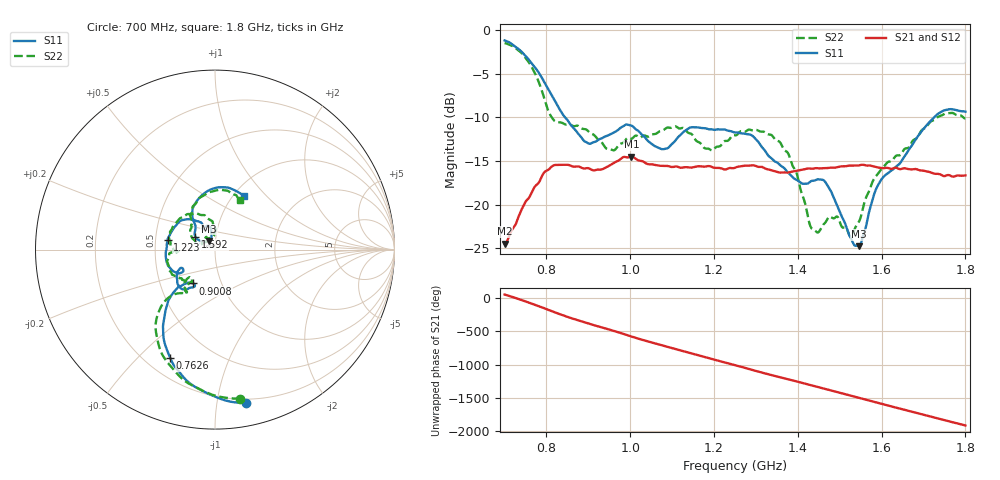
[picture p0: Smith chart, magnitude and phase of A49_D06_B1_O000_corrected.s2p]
! Created with skrf 1.9.0 (http://scikit-rf.org).
# Hz S RI R 50.0
!freq ReS11 ImS11 ReS21 ImS21 ReS12 ImS12 ReS22 ImS22
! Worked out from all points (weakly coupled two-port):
!   1601 points, 700 MHz to 1.8 GHz, reference 50 ohm
!   highest |S21| = -14.49 dB at 1.002 GHz (marker M1); lowest = -24.4 dB at 700 MHz (marker M2)
!   lowest |S11| = -24.7 dB at 1.546 GHz (marker M3), VSWR 1.12, Z = 46.6 + j4.44 ohm
!   |S11| at or under -10 dB: 844.5 MHz to 1.725 GHz (880.7 MHz wide, 68.5 % of centre)
!   |S22| runs from -23.7 to -1.5 dB; largest |S21 - S12| = 0.0035
!   S11 on the Smith chart (normalised r, x): 700 MHz: 0.17, -1.21; 762.6 MHz: 0.30, -0.63; 900.8 MHz: 0.73, -0.29; 1.223 GHz: 0.58, +0.07; 1.592 GHz: 0.80, +0.11; 1.8 GHz: 1.12, +0.76
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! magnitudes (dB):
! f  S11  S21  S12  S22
! 700 MHz  -1.2  -24.4  -24.2  -1.5
! 762.6 MHz  -3.7  -18.8  -18.8  -4.0
! 815.5 MHz  -7.7  -15.5  -15.6  -10.2
! 883.6 MHz  -12.3  -15.8  -15.7  -11.3
! 900.8 MHz  -13.0  -15.8  -15.8  -11.6
! 956.4 MHz  -11.8  -15.3  -15.3  -13.7
! 1.002 GHz  -10.9  -14.5  -14.6  -12.4
! 1.067 GHz  -13.5  -15.5  -15.5  -11.7
! 1.144 GHz  -11.1  -15.7  -15.7  -11.8
! 1.192 GHz  -11.4  -15.6  -15.6  -13.7
! 1.223 GHz  -11.4  -15.9  -15.9  -12.8
! 1.25 GHz  -11.7  -15.8  -15.7  -12.1
! 1.357 GHz  -15.4  -16.3  -16.3  -12.8
! 1.396 GHz  -17.1  -16.1  -16.1  -16.2
! 1.434 GHz  -17.3  -15.9  -15.8  -22.7
! 1.467 GHz  -17.5  -15.8  -15.8  -21.9
! 1.526 GHz  -23.8  -15.5  -15.5  -23.7
! 1.546 GHz  -24.7  -15.5  -15.5  -21.9
! 1.592 GHz  -17.7  -15.7  -15.7  -16.4
! 1.617 GHz  -16.3  -15.8  -15.8  -15.1
! 1.733 GHz  -9.6  -16.5  -16.5  -10.0
! 1.8 GHz  -9.3  -16.6  -16.6  -10.1
